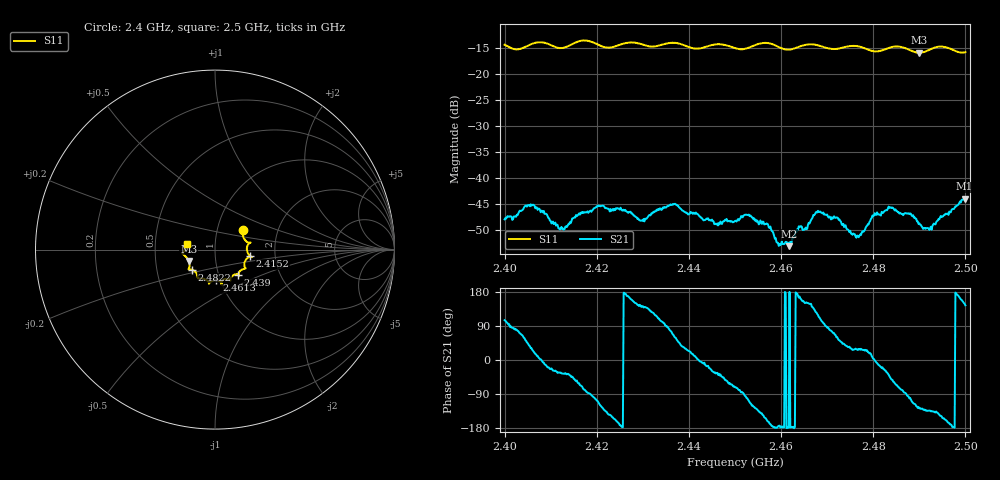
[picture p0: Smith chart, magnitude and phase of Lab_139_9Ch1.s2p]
# Hz S RI R
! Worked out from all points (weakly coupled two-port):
!   601 points, 2.4 GHz to 2.5 GHz, reference 50 ohm
!   highest |S21| = -44.01 dB at 2.4998 GHz (marker M1); lowest = -53.1 dB at 2.4617 GHz (marker M2)
!   lowest |S11| = -15.9 dB at 2.49 GHz (marker M3), VSWR 1.38, Z = 36.9 - j4.84 ohm
!   |S11| at or under -10 dB: start of sweep to end of sweep
!   S12 and S22 are empty: the file has one direction only
!   S11 on the Smith chart (normalised r, x): 2.4 GHz: 1.33, +0.31; 2.4152 GHz: 1.48, -0.11; 2.439 GHz: 1.24, -0.36; 2.4613 GHz: 0.96, -0.34; 2.4822 GHz: 0.76, -0.17; 2.5 GHz: 0.73, +0.05
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2.4e9  0.1553 0.1115  -0.00103 0.00386  0 0  0 0
2.405833e9  0.1905 0.0375  0.00462 0.00281  0 0  0 0
2.412333e9  0.1773 0.00109  0.00276 -0.00195  0 0  0 0
2.415167e9  0.1952 -0.036  0.00264 -0.00322  0 0  0 0
2.416667e9  0.205 -0.0421  0.00166 -0.00425  0 0  0 0
2.421e9  0.1789 -0.0492  -0.00294 -0.00451  0 0  0 0
2.429833e9  0.1601 -0.1075  -0.00307 0.00241  0 0  0 0
2.433333e9  0.1324 -0.1322  -0.00168 0.00474  0 0  0 0
2.439e9  0.1278 -0.1388  0.00399 0.00253  0 0  0 0
2.45e9  0.0689 -0.1636  0.0012 -0.00366  0 0  0 0
2.453e9  0.0388 -0.1749  -0.00135 -0.00423  0 0  0 0
2.461333e9  0.00741 -0.171  -0.00238 -3.66e-05  0 0  0 0
2.461667e9  0.0024 -0.1712  -0.0022 -5.69e-05  0 0  0 0
2.466667e9  -0.0337 -0.1901  -0.00314 0.00255  0 0  0 0
2.471833e9  -0.0637 -0.1618  0.0017 0.00376  0 0  0 0
2.476667e9  -0.095 -0.1584  0.00249 0.00123  0 0  0 0
2.482167e9  -0.1282 -0.1117  0.00423 -0.00185  0 0  0 0
2.483333e9  -0.1395 -0.1101  0.00413 -0.00331  0 0  0 0
2.49e9  -0.1466 -0.0639  -0.00223 -0.0029  0 0  0 0
2.492333e9  -0.1688 -0.033  -0.00224 -0.00237  0 0  0 0
2.499833e9  -0.1584 0.0309  -0.00535 0.00333  0 0  0 0
2.5e9  -0.1584 0.0339  -0.00508 0.00366  0 0  0 0
